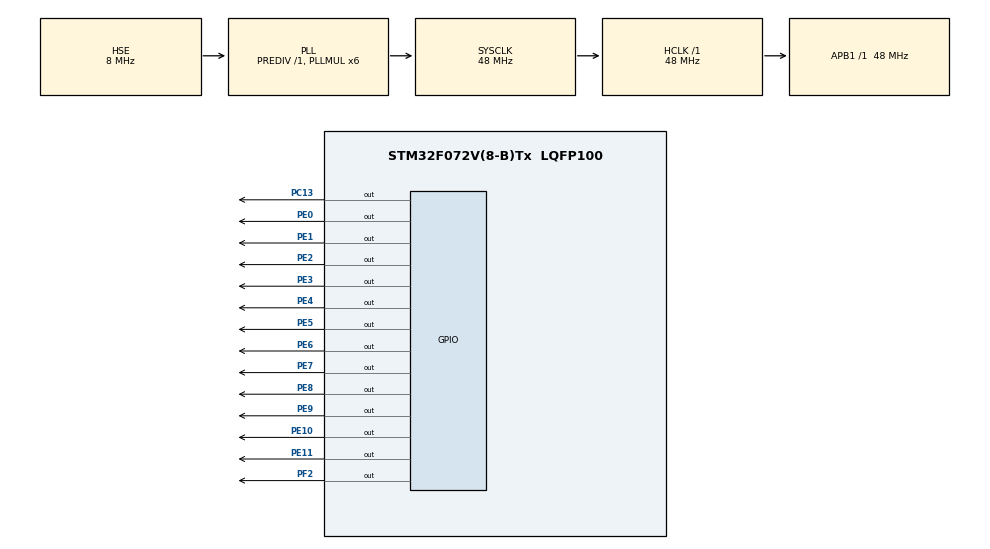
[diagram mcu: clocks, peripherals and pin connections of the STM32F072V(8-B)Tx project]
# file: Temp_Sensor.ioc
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ADC.EnableAnalogWatchDog=true
ADC.HighThreshold=1812
ADC.ITMode=ENABLE
ADC.LowThreshold=1757
ADC.SamplingTime=ADC_SAMPLETIME_239CYCLES_5
ADC.WatchdogChannel=ADC_CHANNEL_TEMPSENSOR
Mcu.Family=STM32F0
Mcu.Name=STM32F072V(8-B)Tx
Mcu.Package=LQFP100
NVIC.ADC1_COMP_IRQn=true\:0\:0\:false\:false\:true
PC13.Signal=GPIO_Output
PE0.Signal=GPIO_Output
PE1.Signal=GPIO_Output
PE10.Signal=GPIO_Output
PE11.Signal=GPIO_Output
PE2.Signal=GPIO_Output
PE3.Signal=GPIO_Output
PE4.Signal=GPIO_Output
PE5.Signal=GPIO_Output
PE6.Signal=GPIO_Output
PE7.Signal=GPIO_Output
PE8.Signal=GPIO_Output
PE9.Signal=GPIO_Output
PF0-OSC_IN.Mode=HSE-External-Oscillator
PF0-OSC_IN.Signal=RCC_OSC_IN
PF1-OSC_OUT.Mode=HSE-External-Oscillator
PF1-OSC_OUT.Signal=RCC_OSC_OUT
PF2.Signal=GPIO_Output
ProjectManager.HeapSize=0x200
ProjectManager.StackSize=0x400
ProjectManager.TargetToolchain=MDK-ARM V5
RCC.AHBFreq_Value=48000000
RCC.APB1Freq_Value=48000000
RCC.APB1TimFreq_Value=48000000
RCC.HCLKFreq_Value=48000000
RCC.HSIState=RCC_HSI_ON
RCC.PLLMUL=RCC_PLL_MUL6
RCC.PLLSourceVirtual=RCC_PLLSOURCE_HSE
RCC.SYSCLKFreq_VALUE=48000000
RCC.SYSCLKSource=RCC_SYSCLKSOURCE_PLLCLK
VP_ADC_TempSens_Input.Mode=IN-TempSens
board=Temp_Sensor

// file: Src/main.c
/**
  ******************************************************************************
  * File Name          : main.c
  * Description        : Main program body
  ******************************************************************************
  *
  * COPYRIGHT(c) 2018 STMicroelectronics
  *
  * Redistribution and use in source and binary forms, with or without modification,
  * are permitted provided that the following conditions are met:
  *   1. Redistributions of source code must retain the above copyright notice,
  *      this list of conditions and the following disclaimer.
  *   2. Redistributions in binary form must reproduce the above copyright notice,
  *      this list of conditions and the following disclaimer in the documentation
  *      and/or other materials provided with the distribution.
  *   3. Neither the name of STMicroelectronics nor the names of its contributors
  *      may be used to endorse or promote products derived from this software
  *      without specific prior written permission.
  *
  * THIS SOFTWARE IS PROVIDED BY THE COPYRIGHT HOLDERS AND CONTRIBUTORS "AS IS"
  * AND ANY EXPRESS OR IMPLIED WARRANTIES, INCLUDING, BUT NOT LIMITED TO, THE
  * IMPLIED WARRANTIES OF MERCHANTABILITY AND FITNESS FOR A PARTICULAR PURPOSE ARE
  * DISCLAIMED. IN NO EVENT SHALL THE COPYRIGHT HOLDER OR CONTRIBUTORS BE LIABLE
  * FOR ANY DIRECT, INDIRECT, INCIDENTAL, SPECIAL, EXEMPLARY, OR CONSEQUENTIAL
  * DAMAGES (INCLUDING, BUT NOT LIMITED TO, PROCUREMENT OF SUBSTITUTE GOODS OR
  * SERVICES; LOSS OF USE, DATA, OR PROFITS; OR BUSINESS INTERRUPTION) HOWEVER
  * CAUSED AND ON ANY THEORY OF LIABILITY, WHETHER IN CONTRACT, STRICT LIABILITY,
  * OR TORT (INCLUDING NEGLIGENCE OR OTHERWISE) ARISING IN ANY WAY OUT OF THE USE
  * OF THIS SOFTWARE, EVEN IF ADVISED OF THE POSSIBILITY OF SUCH DAMAGE.
  *
  ******************************************************************************
  */
#include "stm32f0xx_hal.h"

/* USER CODE BEGIN Includes */
#define TEMP110_CAL_ADDR ((uint16_t*)   ((uint32_t) 0x1FFFF7C2)) /* 110度校准值存放地址 */
#define TEMP30_CAL_ADDR  ((uint16_t*)   ((uint32_t) 0x1FFFF7B8)) /*  30度校准值存放地址 */

/* USER CODE END Includes */

ADC_HandleTypeDef hadc;

/* USER CODE BEGIN PV */
/* Private variables ---------------------------------------------------------*/
ADC_HandleTypeDef hadc;        /* 定义ADC_HandleTypeDef类型变量 */
HAL_StatusTypeDef status;      /* 定义HAL_StatusTypeDef类型变量 */
uint32_t  convert_value;       /* 定义转换结果变量              */
uint32_t  temperature;         /* 定义温度值变量                */

/* USER CODE END PV */

void SystemClock_Config(void);
void Error_Handler(void);
static void MX_GPIO_Init(void);
static void MX_ADC_Init(void);

/* USER CODE BEGIN PFP */
/* Private function prototypes -----------------------------------------------*/
void SEG_Display(uint32_t num);              /* 数码管显示函数  */
uint32_t ADC_Change_Val(uint32_t CONV_DATA); /* ADC数值转换函数 */

/* USER CODE END PFP */

/* USER CODE BEGIN 0 */
const uint8_t table0[]= {0x3f,0x06,0x5b,0x4f,0x66,0x6d,0x7d,0x07,0x7f,0x6f};  /* 共阴（无点）*/
const uint8_t table1[]= {0xbf,0x86,0xdb,0xcf,0xe6,0xed,0xfd,0x87,0xff,0xef};  /* 共阴（有点）*/

/* USER CODE END 0 */

int main(void)
{

  /* MCU Configuration----------------------------------------------------------*/

  /* Reset of all peripherals, Initializes the Flash interface and the Systick. */
  HAL_Init();

  /* Configure the system clock */
  SystemClock_Config();

  /* Initialize all configured peripherals */
  MX_GPIO_Init();
  MX_ADC_Init();

  /* USER CODE BEGIN 2 */

	/* ADC校准  */
	status = HAL_ADCEx_Calibration_Start ( &hadc );
	/* 检查状态 */
	while(status!=0x00)
	{
		/* 错误处理 */
		Error_Handler();
	}

  /* USER CODE END 2 */

  /* Infinite loop */
  /* USER CODE BEGIN WHILE */
  while (1)
  {
		/* 启动A/D转换 */
		status = HAL_ADC_Start ( &hadc );
		/* 检查状态 */
		while(status!=0x00)
		{
			/* 错误处理 */
			Error_Handler();
		}
		/* 等待规则组转换完成 */
		status = HAL_ADC_PollForConversion	( &hadc,3);
		/* 检查状态 */
		while(status!=0x00)
		{
			/* 错误处理 */
			Error_Handler();
		}
		HAL_Delay(1);
		/* 获取ADC规则组转换结果 */
		convert_value = HAL_ADC_GetValue ( &hadc )  ;
		/* 将数字量转换成温度值  */
		convert_value = ADC_Change_Val(convert_value);
		/* 过滤错误的转换值  */
		if((convert_value > 0)&&(convert_value<=100))
		{
			temperature = convert_value;
		}
		/* 显示温度值  */
		SEG_Display(temperature);
		/* 关闭LED灯（在中断服务程序中打开） */
		HAL_GPIO_WritePin(GPIOC,GPIO_PIN_13,GPIO_PIN_SET);

  /* USER CODE END WHILE */

  }

}

/** System Clock Configuration
*/
void SystemClock_Config(void)
{

  RCC_OscInitTypeDef RCC_OscInitStruct;
  RCC_ClkInitTypeDef RCC_ClkInitStruct;

  RCC_OscInitStruct.OscillatorType = RCC_OSCILLATORTYPE_HSI14|RCC_OSCILLATORTYPE_HSE;
  RCC_OscInitStruct.HSEState = RCC_HSE_ON;
  RCC_OscInitStruct.HSI14State = RCC_HSI14_ON;
  RCC_OscInitStruct.HSI14CalibrationValue = 16;
  RCC_OscInitStruct.PLL.PLLState = RCC_PLL_ON;
  RCC_OscInitStruct.PLL.PLLSource = RCC_PLLSOURCE_HSE;
  RCC_OscInitStruct.PLL.PLLMUL = RCC_PLL_MUL6;
  RCC_OscInitStruct.PLL.PREDIV = RCC_PREDIV_DIV1;
  if (HAL_RCC_OscConfig(&RCC_OscInitStruct) != HAL_OK)
  {
    Error_Handler();
  }

  RCC_ClkInitStruct.ClockType = RCC_CLOCKTYPE_HCLK|RCC_CLOCKTYPE_SYSCLK
                              |RCC_CLOCKTYPE_PCLK1;
  RCC_ClkInitStruct.SYSCLKSource = RCC_SYSCLKSOURCE_PLLCLK;
  RCC_ClkInitStruct.AHBCLKDivider = RCC_SYSCLK_DIV1;
  RCC_ClkInitStruct.APB1CLKDivider = RCC_HCLK_DIV1;
  if (HAL_RCC_ClockConfig(&RCC_ClkInitStruct, FLASH_LATENCY_1) != HAL_OK)
  {
    Error_Handler();
  }

  HAL_SYSTICK_Config(HAL_RCC_GetHCLKFreq()/1000);

  HAL_SYSTICK_CLKSourceConfig(SYSTICK_CLKSOURCE_HCLK);

  /* SysTick_IRQn interrupt configuration */
  HAL_NVIC_SetPriority(SysTick_IRQn, 0, 0);
}

/* ADC init function */
static void MX_ADC_Init(void)
{

  ADC_ChannelConfTypeDef sConfig;
  ADC_AnalogWDGConfTypeDef AnalogWDGConfig;

    /**Configure the global features of the ADC (Clock, Resolution, Data Alignment and number of conversion)
    */
  hadc.Instance = ADC1;
  hadc.Init.ClockPrescaler = ADC_CLOCK_ASYNC_DIV1;
  hadc.Init.Resolution = ADC_RESOLUTION_12B;
  hadc.Init.DataAlign = ADC_DATAALIGN_RIGHT;
  hadc.Init.ScanConvMode = ADC_SCAN_DIRECTION_FORWARD;
  hadc.Init.EOCSelection = ADC_EOC_SINGLE_CONV;
  hadc.Init.LowPowerAutoWait = DISABLE;
  hadc.Init.LowPowerAutoPowerOff = DISABLE;
  hadc.Init.ContinuousConvMode = DISABLE;
  hadc.Init.DiscontinuousConvMode = DISABLE;
  hadc.Init.ExternalTrigConvEdge = ADC_EXTERNALTRIGCONVEDGE_NONE;
  hadc.Init.DMAContinuousRequests = DISABLE;
  hadc.Init.Overrun = ADC_OVR_DATA_PRESERVED;
  if (HAL_ADC_Init(&hadc) != HAL_OK)
  {
    Error_Handler();
  }

    /**Configure for the selected ADC regular channel to be converted.
    */
  sConfig.Channel = ADC_CHANNEL_TEMPSENSOR;
  sConfig.Rank = ADC_RANK_CHANNEL_NUMBER;
  sConfig.SamplingTime = ADC_SAMPLETIME_239CYCLES_5;
  if (HAL_ADC_ConfigChannel(&hadc, &sConfig) != HAL_OK)
  {
    Error_Handler();
  }

    /**Configure the analog watchdog
    */
  AnalogWDGConfig.WatchdogMode = ADC_ANALOGWATCHDOG_SINGLE_REG;
  AnalogWDGConfig.Channel = ADC_CHANNEL_TEMPSENSOR;
  AnalogWDGConfig.ITMode = ENABLE;
  AnalogWDGConfig.HighThreshold = 1812;
  AnalogWDGConfig.LowThreshold = 1757;
  if (HAL_ADC_AnalogWDGConfig(&hadc, &AnalogWDGConfig) != HAL_OK)
  {
    Error_Handler();
  }

}

/** Configure pins as
        * Analog
        * Input
        * Output
        * EVENT_OUT
        * EXTI
*/
static void MX_GPIO_Init(void)
{

  GPIO_InitTypeDef GPIO_InitStruct;

  /* GPIO Ports Clock Enable */
  __HAL_RCC_GPIOE_CLK_ENABLE();
  __HAL_RCC_GPIOC_CLK_ENABLE();
  __HAL_RCC_GPIOF_CLK_ENABLE();

  /*Configure GPIO pin Output Level */
  HAL_GPIO_WritePin(GPIOE, GPIO_PIN_2|GPIO_PIN_3|GPIO_PIN_4|GPIO_PIN_5
                          |GPIO_PIN_6|GPIO_PIN_7|GPIO_PIN_8|GPIO_PIN_9
                          |GPIO_PIN_10|GPIO_PIN_11|GPIO_PIN_0|GPIO_PIN_1, GPIO_PIN_RESET);

  /*Configure GPIO pin Output Level */
  HAL_GPIO_WritePin(GPIOC, GPIO_PIN_13, GPIO_PIN_RESET);

  /*Configure GPIO pin Output Level */
  HAL_GPIO_WritePin(GPIOF, GPIO_PIN_2, GPIO_PIN_RESET);

  /*Configure GPIO pins : PE2 PE3 PE4 PE5
                           PE6 PE7 PE8 PE9
                           PE10 PE11 PE0 PE1 */
  GPIO_InitStruct.Pin = GPIO_PIN_2|GPIO_PIN_3|GPIO_PIN_4|GPIO_PIN_5
                          |GPIO_PIN_6|GPIO_PIN_7|GPIO_PIN_8|GPIO_PIN_9
                          |GPIO_PIN_10|GPIO_PIN_11|GPIO_PIN_0|GPIO_PIN_1;
  GPIO_InitStruct.Mode = GPIO_MODE_OUTPUT_PP;
  GPIO_InitStruct.Pull = GPIO_NOPULL;
  GPIO_InitStruct.Speed = GPIO_SPEED_FREQ_LOW;
  HAL_GPIO_Init(GPIOE, &GPIO_InitStruct);

  /*Configure GPIO pin : PC13 */
  GPIO_InitStruct.Pin = GPIO_PIN_13;
  GPIO_InitStruct.Mode = GPIO_MODE_OUTPUT_PP;
  GPIO_InitStruct.Pull = GPIO_NOPULL;
  GPIO_InitStruct.Speed = GPIO_SPEED_FREQ_LOW;
  HAL_GPIO_Init(GPIOC, &GPIO_InitStruct);

  /*Configure GPIO pin : PF2 */
  GPIO_InitStruct.Pin = GPIO_PIN_2;
  GPIO_InitStruct.Mode = GPIO_MODE_OUTPUT_PP;
  GPIO_InitStruct.Pull = GPIO_NOPULL;
  GPIO_InitStruct.Speed = GPIO_SPEED_FREQ_LOW;
  HAL_GPIO_Init(GPIOF, &GPIO_InitStruct);

}

/* USER CODE BEGIN 4 */

/*  数码管显示函数  */
void SEG_Display(uint32_t num)
{
	/* 取出四位数显示值 */
  uint8_t GeWei,ShiWei,BaiWei,QianWei;
	GeWei   = (uint8_t)(num%10);
	ShiWei  = (uint8_t)(num%100/10);
	BaiWei  = (uint8_t)(num%1000/100);
	QianWei = (uint8_t)(num/1000);

	/* 使能数码管位驱动  */
	HAL_GPIO_WritePin(GPIOF,GPIO_PIN_2,GPIO_PIN_RESET);

	/* 显示个位 */
	GPIOE->ODR |= (uint16_t)(table0[GeWei]);
	/* 使能个位 */
	HAL_GPIO_WritePin(GPIOE,GPIO_PIN_9|GPIO_PIN_10|GPIO_PIN_11,GPIO_PIN_SET);
	HAL_GPIO_WritePin(GPIOE,GPIO_PIN_8,GPIO_PIN_RESET);
	HAL_Delay(3);
	/* 消隐 */
  GPIOE->ODR &= 0xFF00;
	GPIOE->ODR |= 0x0F00;
	HAL_Delay(1);

	/* 显示十位 */
	GPIOE->ODR |= (uint16_t)(table0[ShiWei]);
	/* 使能十位 */
	HAL_GPIO_WritePin(GPIOE,GPIO_PIN_8|GPIO_PIN_10|GPIO_PIN_11,GPIO_PIN_SET);
	HAL_GPIO_WritePin(GPIOE,GPIO_PIN_9,GPIO_PIN_RESET);
	HAL_Delay(3);
	/* 消隐 */
  GPIOE->ODR &= 0xFF00;
	GPIOE->ODR |= 0x0F00;
	HAL_Delay(1);

	/* 显示百位 */
	GPIOE->ODR |= (uint16_t)(table0[BaiWei]);
	/* 使能百位 */
	HAL_GPIO_WritePin(GPIOE,GPIO_PIN_8|GPIO_PIN_9|GPIO_PIN_11,GPIO_PIN_SET);
	HAL_GPIO_WritePin(GPIOE,GPIO_PIN_10,GPIO_PIN_RESET);
	HAL_Delay(3);
	/* 消隐 */
  GPIOE->ODR &= 0xFF00;
	GPIOE->ODR |= 0x0F00;
	HAL_Delay(1);

	/* 显示千位 */
	GPIOE->ODR |= (uint16_t)(table0[QianWei]);
	/* 使能千位 */
	HAL_GPIO_WritePin(GPIOE,GPIO_PIN_8|GPIO_PIN_9|GPIO_PIN_10,GPIO_PIN_SET);
	HAL_GPIO_WritePin(GPIOE,GPIO_PIN_11,GPIO_PIN_RESET);
	HAL_Delay(3);
	/* 消隐 */
  GPIOE->ODR &= 0xFF00;
	GPIOE->ODR |= 0x0F00;
	HAL_Delay(1);
}

uint32_t ADC_Change_Val(uint32_t CONV_DATA)
{
	/* 保存摄氏度的值 */
	int32_t temperature;
	/* 计算温度值 */
	temperature = (((int32_t) ADC1->DR )- (int32_t) *TEMP30_CAL_ADDR );
	temperature = temperature * (int32_t)(110 - 30);
	temperature = temperature / (int32_t)(*TEMP110_CAL_ADDR- *TEMP30_CAL_ADDR);
	temperature = temperature + 30;
	/* 返回转换结果 */
	return temperature;
}

/* USER CODE END 4 */

void Error_Handler(void)
{
  while(1)
  {
  }
}

/************************ (C) COPYRIGHT STMicroelectronics *****END OF FILE****/
